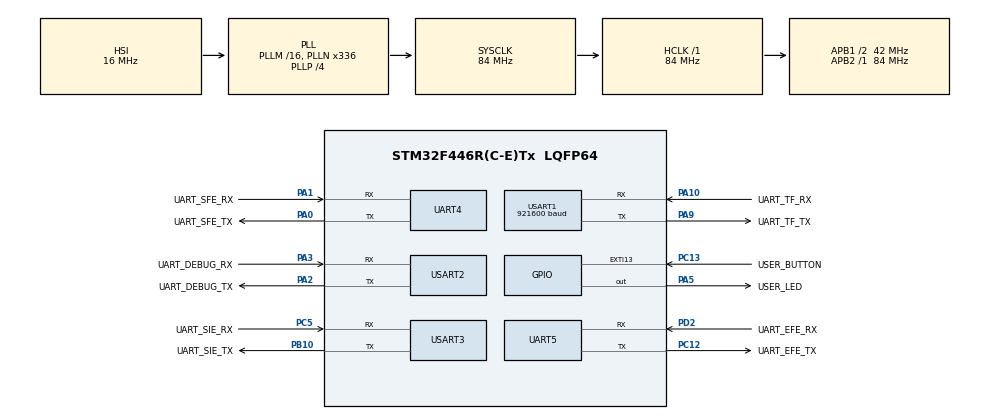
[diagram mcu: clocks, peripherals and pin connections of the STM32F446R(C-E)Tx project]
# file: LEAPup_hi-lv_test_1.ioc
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Mcu.Family=STM32F4
Mcu.Name=STM32F446R(C-E)Tx
Mcu.Package=LQFP64
NVIC.EXTI15_10_IRQn=true\:0\:3\:false\:false\:true\:true\:true\:true
NVIC.PriorityGroup=NVIC_PRIORITYGROUP_1
NVIC.TIM4_IRQn=true\:0\:4\:false\:false\:true\:true\:true\:true
NVIC.UART4_IRQn=true\:1\:3\:true\:false\:true\:true\:true\:true
NVIC.UART5_IRQn=true\:1\:4\:true\:false\:true\:true\:true\:true
NVIC.USART1_IRQn=true\:1\:1\:true\:false\:true\:true\:true\:true
NVIC.USART2_IRQn=true\:1\:0\:true\:false\:true\:true\:true\:true
NVIC.USART3_IRQn=true\:1\:2\:true\:false\:true\:true\:true\:true
PA0-WKUP.GPIO_Label=UART_SFE_TX
PA0-WKUP.Mode=Asynchronous
PA0-WKUP.Signal=UART4_TX
PA1.GPIO_Label=UART_SFE_RX
PA1.Mode=Asynchronous
PA1.Signal=UART4_RX
PA10.GPIO_Label=UART_TF_RX
PA10.Mode=Asynchronous
PA10.Signal=USART1_RX
PA13.GPIO_Label=TMS
PA13.Mode=Serial_Wire
PA13.Signal=SYS_JTMS-SWDIO
PA14.GPIO_Label=TCK
PA14.Mode=Serial_Wire
PA14.Signal=SYS_JTCK-SWCLK
PA2.GPIO_Label=UART_DEBUG_TX
PA2.Mode=Asynchronous
PA2.Signal=USART2_TX
PA3.GPIO_Label=UART_DEBUG_RX
PA3.Mode=Asynchronous
PA3.Signal=USART2_RX
PA5.GPIO_Label=USER_LED
PA5.Signal=GPIO_Output
PA9.GPIO_Label=UART_TF_TX
PA9.Mode=Asynchronous
PA9.Signal=USART1_TX
PB10.GPIO_Label=UART_SIE_TX
PB10.Mode=Asynchronous
PB10.Signal=USART3_TX
PB3.GPIO_Label=SWO
PB3.Signal=SYS_JTDO-SWO
PC12.GPIO_Label=UART_EFE_TX
PC12.Mode=Asynchronous
PC12.Signal=UART5_TX
PC13.GPIO_Label=USER_BUTTON
PC13.GPIO_ModeDefaultEXTI=GPIO_MODE_IT_FALLING
PC13.Signal=GPXTI13
PC14-OSC32_IN.Mode=LSE-External-Oscillator
PC14-OSC32_IN.Signal=RCC_OSC32_IN
PC15-OSC32_OUT.Mode=LSE-External-Oscillator
PC15-OSC32_OUT.Signal=RCC_OSC32_OUT
PC5.GPIO_Label=UART_SIE_RX
PC5.Mode=Asynchronous
PC5.Signal=USART3_RX
PD2.GPIO_Label=UART_EFE_RX
PD2.Mode=Asynchronous
PD2.Signal=UART5_RX
PH0-OSC_IN.Mode=HSE-External-Oscillator
PH0-OSC_IN.Signal=RCC_OSC_IN
PH1-OSC_OUT.Mode=HSE-External-Oscillator
PH1-OSC_OUT.Signal=RCC_OSC_OUT
ProjectManager.HeapSize=0x200
ProjectManager.StackSize=0x400
ProjectManager.TargetToolchain=STM32CubeIDE
RCC.48MHZClocksFreq_Value=84000000
RCC.AHBFreq_Value=84000000
RCC.APB1CLKDivider=RCC_HCLK_DIV2
RCC.APB1Freq_Value=42000000
RCC.APB1TimFreq_Value=84000000
RCC.APB2Freq_Value=84000000
RCC.APB2TimFreq_Value=84000000
RCC.CortexFreq_Value=84000000
RCC.FLatency-AdvancedSettings=FLASH_LATENCY_2
RCC.HCLKFreq_Value=84000000
RCC.HSE_VALUE=8000000
RCC.HSI_VALUE=16000000
RCC.PLLN=336
RCC.PLLP=RCC_PLLP_DIV4
RCC.SYSCLKFreq_VALUE=84000000
RCC.SYSCLKSource=RCC_SYSCLKSOURCE_PLLCLK
RCC.USBFreq_Value=168000000
RCC.VCOOutputFreq_Value=336000000
UART4.VirtualMode=Asynchronous
UART5.VirtualMode=Asynchronous
USART1.BaudRate=921600
USART1.VirtualMode=VM_ASYNC
USART2.VirtualMode=VM_ASYNC
USART3.VirtualMode=VM_ASYNC
VP_TIM4_VS_ClockSourceINT.Mode=Internal
board=NUCLEO-F446RE

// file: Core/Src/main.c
/* USER CODE BEGIN Header */
/**
 ******************************************************************************
 * @file           : main.c
 * @brief          : Main program body of LEAP-Up.
 *                   Use STM32CubeIDE.
 ******************************************************************************
 * @attention
 *
 * Copyright (c) 2023 STMicroelectronics.
 * All rights reserved.
 *
 * This software is licensed under terms that can be found in the LICENSE file
 * in the root directory of this software component.
 * If no LICENSE file comes with this software, it is provided AS-IS.
 *
 ******************************************************************************
 */
/* USER CODE END Header */
#include "main.h"

/* USER CODE BEGIN Includes */
#include <stdio.h> /* printf(). */
#include <math.h>
#include "kinematics.h"
/* USER CODE END Includes */

/* USER CODE BEGIN PD */
#define L1 (258)
#define L2 (325)

#define FTS_ZERO_POINT_OUTPUT (8192) /* 8192+-655. Refer to WEF-6A200 F/T sensor datasheet*/
#define FTS_RX_BUFFER_LEN (27)       /* 27 bytes. */
#define EFE_RX_BUFFER_LEN (2)
#define SFE_RX_BUFFER_LEN (10)
#define SIE_RX_BUFFER_LEN (10)

/* Reverse joints CW/CCW.  */
// #define INVERT_SIE_DIRECTION
#define INVERT_SFE_DIRECTION
// #define INVERT_EFE_DIRECTION

/* Reverse F/T sensor axis. */
#define INVERT_FTS_FX
// #define INVERT_FTS_FY
// #define INVERT_FTS_FZ
// #define INVERT_FTS_MX
// #define INVERT_FTS_MY
// #define INVERT_FTS_MZ

// #define EXCHANGE_FTS_FX_FY

/* USER CODE END PD */

TIM_HandleTypeDef htim4;

UART_HandleTypeDef huart4;
UART_HandleTypeDef huart5;
UART_HandleTypeDef huart1;
UART_HandleTypeDef huart2;
UART_HandleTypeDef huart3;

/* USER CODE BEGIN PV */
uint8_t UART_FTS_RxBuffer[FTS_RX_BUFFER_LEN] = {0};
volatile uint8_t UART_FTS_RxDone = 0;
uint8_t UART_EFE_RxBuffer[EFE_RX_BUFFER_LEN] = {0};
volatile uint8_t UART_EFE_RxDone = 0;
uint8_t UART_SFE_RxBuffer[SFE_RX_BUFFER_LEN] = {0};
volatile uint8_t UART_SFE_RxDone = 0;
uint8_t UART_SIE_RxBuffer[SIE_RX_BUFFER_LEN] = {0};
volatile uint8_t UART_SIE_RxDone = 0;

typedef struct
{
  int16_t Fx;
  int16_t Fy;
  int16_t Fz;
  int16_t Mx;
  int16_t My;
  int16_t Mz;
  uint8_t N;
} FTS_Data_t;

FTS_Data_t FTS_Data;
FTS_Data_t FTS_Data_offset;

/* USER CODE END PV */

void SystemClock_Config(void);
static void MX_GPIO_Init(void);
static void MX_TIM4_Init(void);
static void MX_UART4_Init(void);
static void MX_UART5_Init(void);
static void MX_USART1_UART_Init(void);
static void MX_USART2_UART_Init(void);
static void MX_USART3_UART_Init(void);
/* USER CODE BEGIN PFP */
uint8_t ASCII_to_int(uint8_t ascii);
uint16_t ASCII_to_int_4(uint8_t a1, uint8_t a2, uint8_t a3, uint8_t a4);
int FTS_parse_sensor_data(uint8_t *raw_data,
                          int16_t zero_point,
                          int16_t *Fx,
                          int16_t *Fy,
                          int16_t *Fz,
                          int16_t *Mx,
                          int16_t *My,
                          int16_t *Mz,
                          uint8_t *N);
void FTS_Corrdinate_Convert2(float theta, float x, float y, float *out_x, float *out_y);

void SIE_Set_Angle(float rad);
void SFE_Set_Angle(float rad);
void EFE_Set_Angle(float rad);

void SIE_Get_Angle(float *rad);
void SFE_Get_Angle(float *rad);
void EFE_Get_Angle(float *rad);

void SIE_Enable(uint8_t enable);
void SFE_Enable(uint8_t enable);
void EFE_Enable(uint8_t enable);

int __io_putchar(int ch)
{
  //  while (HAL_UART_GetState(&huart2) != HAL_UART_STATE_READY)
  //  {
  //  }

  HAL_UART_Transmit(&huart2, (uint8_t *)&ch, 1, HAL_MAX_DELAY);

  //  while (HAL_UART_GetState(&huart2) != HAL_UART_STATE_READY)
  //  {
  //  }

  return ch;
}

/* USER CODE END PFP */

int main(void)
{

  /* MCU Configuration--------------------------------------------------------*/

  /* Reset of all peripherals, Initializes the Flash interface and the Systick. */
  HAL_Init();

  /* Configure the system clock */
  SystemClock_Config();

  /* Initialize all configured peripherals */
  MX_GPIO_Init();
  MX_TIM4_Init();
  MX_UART4_Init();
  MX_UART5_Init();
  MX_USART1_UART_Init();
  MX_USART2_UART_Init();
  MX_USART3_UART_Init();
  /* USER CODE BEGIN 2 */
  // uint8_t enable = 0xFE;
  // HAL_UART_Transmit(&huart5, (uint8_t *)&enable, 1, HAL_MAX_DELAY);
  /* USER CODE END 2 */

  /* Infinite loop */
  /* USER CODE BEGIN WHILE */
  HAL_UART_Transmit(&huart2, "Init\r\n", 6, HAL_MAX_DELAY); /* Requires FTS output detected value once. */
  HAL_Delay(500);

  SIE_Enable(1);
  SFE_Enable(1);
  EFE_Enable(1);
  HAL_Delay(200);

  HAL_UARTEx_ReceiveToIdle_IT(&huart1, (uint8_t *)UART_FTS_RxBuffer, FTS_RX_BUFFER_LEN);
  HAL_UART_Transmit(&huart1, "R", 1, HAL_MAX_DELAY); /* Requires FTS output detected value once. */
  HAL_Delay(200);

  // SIE_Set_Angle(0);
  //  SFE_Set_Angle(0);
  //  EFE_Set_Angle(0.35);
  // float tSFE, tEFE = 0;
  //  IK2(L1 / 2.0, 0, L1, L2, &tSFE, &tEFE);
  //  SFE_Set_Angle(tSFE);
  //  EFE_Set_Angle(tEFE);
  // HAL_Delay(5000);

  FTS_Data_offset = FTS_Data;

//    HAL_UART_Receive_IT(&huart1, (uint8_t *)UART_FTS_RxBuffer, FTS_RX_BUFFER_LEN);
//    HAL_UART_Transmit(&huart1, "R", 1, HAL_MAX_DELAY); /* Requires FTS output detected value once. */

  HAL_UART_Transmit(&huart2, "Ready\r\n", 7, HAL_MAX_DELAY); /* Requires FTS output detected value once. */

  // while(1)
  // {
  // 	  SFE_Enable(1);
  // 	  EFE_Enable(1);

  //     float targetSFE, targetEFE = 0;

  //     IK2((L1+L2)/2, 0, L1, L2, &targetSFE, &targetEFE);

  //     SFE_Set_Angle(targetSFE);
  //     EFE_Set_Angle(targetEFE);
  // }

  while (1)
  {
    float oriX, oriY, oriZ = 0;      /* Origin Cartesian coordinate system */
    float targetX, targetY, targetZ = 0; /* Target Cartesian coordinate system*/
    float oriSIE, oriSFE, oriEFE = 0;            /*Origin joint angle*/
    float targetSFE, targetEFE, targetSIE = 0; /* Target joint angle */
    float extFX, extFY, extFZ = 0; /* Force */
    /* Read F/T sensor data */
    HAL_UARTEx_ReceiveToIdle_IT(&huart1, (uint8_t *)UART_FTS_RxBuffer, FTS_RX_BUFFER_LEN);
    HAL_UART_Transmit(&huart1, "R", 1, HAL_MAX_DELAY); /* Requires FTS output detected value once. */
    while (!UART_FTS_RxDone)
    {
    }
    UART_FTS_RxDone = 0;

    //    SIE_Get_Angle(&oriSIE);
    SFE_Get_Angle(&oriSFE);
    //    SFE_Set_Angle(oriSFE);

    EFE_Get_Angle(&oriEFE);
    //    EFE_Set_Angle(oriEFE);

//    FTS_Corrdinate_Convert2((oriSFE + oriEFE),
//                            (FTS_Data.My - FTS_Data_offset.My),
//                            (FTS_Data.Mx - FTS_Data_offset.Mx),
//                            &extFX,
//                            &extFY);

    /* Offset */
    extFX = (FTS_Data.Fx - FTS_Data_offset.Fx);
    extFY = (FTS_Data.Fy - FTS_Data_offset.Fy);
    extFZ = (FTS_Data.Fz - FTS_Data_offset.Fz);

    /* Admittance Control */
    float offsetX = (0.07 * extFX);
    float offsetY = (0.07 * extFY);
    float offsetZ = (0.001 * extFZ);

    //    if (offsetX > 5)
    //      offsetX = 5;
    //    else if (offsetX < -5)
    //      offsetX = -5;
    //
    //    if (offsetY > 5)
    //      offsetY = 5;
    //    else if (offsetY < -5)
    //      offsetY = -5;
    //
    //    if (offsetZ > 5)
    //      offsetZ = 5;
    //    else if (offsetZ < -5)
    //      offsetZ = -5;

//    FK2(oriSFE, oriEFE, L1, L2, &oriX, &oriY);
//    float r = sqrt(pow(oriX, 2) + pow(oriY, 2));
//    targetX = r + offsetX;
//    IK2(targetX, 0, L1, L2, &targetSFE, &targetEFE);

    /* Limit */
//    if(extFY > extFX)
    {
    	if(offsetY >0.18)
    	{
    		offsetY = 0.18;
    	}
    	else if(offsetY < -0.18)
    	{
    		offsetY = -0.18;
    	}
        targetSFE = oriSFE + offsetY;
//    	targetEFE=oriEFE;
        targetEFE = oriEFE - offsetX;
    }

    targetSIE = oriSIE + offsetZ;

    /* Threshold */
    if (fabs(oriEFE - targetEFE) > 0.15)
    {
      EFE_Set_Angle(targetEFE);
    }

    if (fabs(oriSFE - targetSFE) > 0.16)
    {
      SFE_Set_Angle(targetSFE);
    }

    if (fabs(oriSIE - targetSIE) > 0.18)
    {
      SIE_Set_Angle(targetSIE);
    }

    /* LED blinking */
    HAL_GPIO_TogglePin(USER_LED_GPIO_Port, USER_LED_Pin);
    HAL_Delay(100);
    /* USER CODE END WHILE */
  }
}

void SystemClock_Config(void)
{
  RCC_OscInitTypeDef RCC_OscInitStruct = {0};
  RCC_ClkInitTypeDef RCC_ClkInitStruct = {0};

  /** Configure the main internal regulator output voltage
   */
  __HAL_RCC_PWR_CLK_ENABLE();
  __HAL_PWR_VOLTAGESCALING_CONFIG(PWR_REGULATOR_VOLTAGE_SCALE3);

  /** Initializes the RCC Oscillators according to the specified parameters
   * in the RCC_OscInitTypeDef structure.
   */
  RCC_OscInitStruct.OscillatorType = RCC_OSCILLATORTYPE_HSI;
  RCC_OscInitStruct.HSIState = RCC_HSI_ON;
  RCC_OscInitStruct.HSICalibrationValue = RCC_HSICALIBRATION_DEFAULT;
  RCC_OscInitStruct.PLL.PLLState = RCC_PLL_ON;
  RCC_OscInitStruct.PLL.PLLSource = RCC_PLLSOURCE_HSI;
  RCC_OscInitStruct.PLL.PLLM = 16;
  RCC_OscInitStruct.PLL.PLLN = 336;
  RCC_OscInitStruct.PLL.PLLP = RCC_PLLP_DIV4;
  RCC_OscInitStruct.PLL.PLLQ = 2;
  RCC_OscInitStruct.PLL.PLLR = 2;
  if (HAL_RCC_OscConfig(&RCC_OscInitStruct) != HAL_OK)
  {
    Error_Handler();
  }

  /** Initializes the CPU, AHB and APB buses clocks
   */
  RCC_ClkInitStruct.ClockType = RCC_CLOCKTYPE_HCLK | RCC_CLOCKTYPE_SYSCLK | RCC_CLOCKTYPE_PCLK1 | RCC_CLOCKTYPE_PCLK2;
  RCC_ClkInitStruct.SYSCLKSource = RCC_SYSCLKSOURCE_PLLCLK;
  RCC_ClkInitStruct.AHBCLKDivider = RCC_SYSCLK_DIV1;
  RCC_ClkInitStruct.APB1CLKDivider = RCC_HCLK_DIV2;
  RCC_ClkInitStruct.APB2CLKDivider = RCC_HCLK_DIV1;

  if (HAL_RCC_ClockConfig(&RCC_ClkInitStruct, FLASH_LATENCY_2) != HAL_OK)
  {
    Error_Handler();
  }
}

static void MX_TIM4_Init(void)
{

  TIM_ClockConfigTypeDef sClockSourceConfig = {0};
  TIM_MasterConfigTypeDef sMasterConfig = {0};

  htim4.Instance = TIM4;
  htim4.Init.Prescaler = 0;
  htim4.Init.CounterMode = TIM_COUNTERMODE_UP;
  htim4.Init.Period = 65535;
  htim4.Init.ClockDivision = TIM_CLOCKDIVISION_DIV1;
  htim4.Init.AutoReloadPreload = TIM_AUTORELOAD_PRELOAD_DISABLE;
  if (HAL_TIM_Base_Init(&htim4) != HAL_OK)
  {
    Error_Handler();
  }
  sClockSourceConfig.ClockSource = TIM_CLOCKSOURCE_INTERNAL;
  if (HAL_TIM_ConfigClockSource(&htim4, &sClockSourceConfig) != HAL_OK)
  {
    Error_Handler();
  }
  sMasterConfig.MasterOutputTrigger = TIM_TRGO_RESET;
  sMasterConfig.MasterSlaveMode = TIM_MASTERSLAVEMODE_DISABLE;
  if (HAL_TIMEx_MasterConfigSynchronization(&htim4, &sMasterConfig) != HAL_OK)
  {
    Error_Handler();
  }
}

static void MX_UART4_Init(void)
{

  huart4.Instance = UART4;
  huart4.Init.BaudRate = 115200;
  huart4.Init.WordLength = UART_WORDLENGTH_8B;
  huart4.Init.StopBits = UART_STOPBITS_1;
  huart4.Init.Parity = UART_PARITY_NONE;
  huart4.Init.Mode = UART_MODE_TX_RX;
  huart4.Init.HwFlowCtl = UART_HWCONTROL_NONE;
  huart4.Init.OverSampling = UART_OVERSAMPLING_16;
  if (HAL_UART_Init(&huart4) != HAL_OK)
  {
    Error_Handler();
  }
}

static void MX_UART5_Init(void)
{

  huart5.Instance = UART5;
  huart5.Init.BaudRate = 115200;
  huart5.Init.WordLength = UART_WORDLENGTH_8B;
  huart5.Init.StopBits = UART_STOPBITS_1;
  huart5.Init.Parity = UART_PARITY_NONE;
  huart5.Init.Mode = UART_MODE_TX_RX;
  huart5.Init.HwFlowCtl = UART_HWCONTROL_NONE;
  huart5.Init.OverSampling = UART_OVERSAMPLING_16;
  if (HAL_UART_Init(&huart5) != HAL_OK)
  {
    Error_Handler();
  }
}

static void MX_USART1_UART_Init(void)
{

  huart1.Instance = USART1;
  huart1.Init.BaudRate = 921600;
  huart1.Init.WordLength = UART_WORDLENGTH_8B;
  huart1.Init.StopBits = UART_STOPBITS_1;
  huart1.Init.Parity = UART_PARITY_NONE;
  huart1.Init.Mode = UART_MODE_TX_RX;
  huart1.Init.HwFlowCtl = UART_HWCONTROL_NONE;
  huart1.Init.OverSampling = UART_OVERSAMPLING_16;
  if (HAL_UART_Init(&huart1) != HAL_OK)
  {
    Error_Handler();
  }
}

static void MX_USART2_UART_Init(void)
{

  huart2.Instance = USART2;
  huart2.Init.BaudRate = 115200;
  huart2.Init.WordLength = UART_WORDLENGTH_8B;
  huart2.Init.StopBits = UART_STOPBITS_1;
  huart2.Init.Parity = UART_PARITY_NONE;
  huart2.Init.Mode = UART_MODE_TX_RX;
  huart2.Init.HwFlowCtl = UART_HWCONTROL_NONE;
  huart2.Init.OverSampling = UART_OVERSAMPLING_16;
  if (HAL_UART_Init(&huart2) != HAL_OK)
  {
    Error_Handler();
  }
}

static void MX_USART3_UART_Init(void)
{

  huart3.Instance = USART3;
  huart3.Init.BaudRate = 115200;
  huart3.Init.WordLength = UART_WORDLENGTH_8B;
  huart3.Init.StopBits = UART_STOPBITS_1;
  huart3.Init.Parity = UART_PARITY_NONE;
  huart3.Init.Mode = UART_MODE_TX_RX;
  huart3.Init.HwFlowCtl = UART_HWCONTROL_NONE;
  huart3.Init.OverSampling = UART_OVERSAMPLING_16;
  if (HAL_UART_Init(&huart3) != HAL_OK)
  {
    Error_Handler();
  }
}

static void MX_GPIO_Init(void)
{
  GPIO_InitTypeDef GPIO_InitStruct = {0};

  /* GPIO Ports Clock Enable */
  __HAL_RCC_GPIOC_CLK_ENABLE();
  __HAL_RCC_GPIOH_CLK_ENABLE();
  __HAL_RCC_GPIOA_CLK_ENABLE();
  __HAL_RCC_GPIOB_CLK_ENABLE();
  __HAL_RCC_GPIOD_CLK_ENABLE();

  /*Configure GPIO pin Output Level */
  HAL_GPIO_WritePin(USER_LED_GPIO_Port, USER_LED_Pin, GPIO_PIN_RESET);

  /*Configure GPIO pin : USER_BUTTON_Pin */
  GPIO_InitStruct.Pin = USER_BUTTON_Pin;
  GPIO_InitStruct.Mode = GPIO_MODE_IT_FALLING;
  GPIO_InitStruct.Pull = GPIO_NOPULL;
  HAL_GPIO_Init(USER_BUTTON_GPIO_Port, &GPIO_InitStruct);

  /*Configure GPIO pin : USER_LED_Pin */
  GPIO_InitStruct.Pin = USER_LED_Pin;
  GPIO_InitStruct.Mode = GPIO_MODE_OUTPUT_PP;
  GPIO_InitStruct.Pull = GPIO_NOPULL;
  GPIO_InitStruct.Speed = GPIO_SPEED_FREQ_LOW;
  HAL_GPIO_Init(USER_LED_GPIO_Port, &GPIO_InitStruct);

  /* EXTI interrupt init*/
  HAL_NVIC_SetPriority(EXTI15_10_IRQn, 0, 3);
  HAL_NVIC_EnableIRQ(EXTI15_10_IRQn);
}

/* USER CODE BEGIN 4 */

void SIE_Set_Angle(float rad)
{
  if (rad < -0.45)
  {
    rad = -0.45;
  }
  else if (rad > 0.7)
  {
    rad = 0.7;
  }

  // rad += M_PI;
  rad *= 100.0f; /* Gear reduction ratio. */

#ifdef INVERT_SIE_DIRECTION
  rad *= -1;
#endif

  char sign = (rad >= 0) ? '+' : '-';
  rad = fabs(rad);
  /* '0x30' = '0' of ASCII. */
  uint8_t data[10];
  data[0] = 'M';
  data[1] = (uint8_t)sign;
  data[2] = ((int)rad / 100 % 10) + 0x30; /* Handred place. */
  data[3] = ((int)rad / 10 % 10) + 0x30;  /* Ten place. */
  data[4] = ((int)rad / 1 % 10) + 0x30;   /* Unit place. */
  data[5] = '.';
  data[6] = ((int)(rad * 10) / 1 % 10) + 0x30;
  data[7] = ((int)(rad * 100) / 1 % 10) + 0x30;
  data[8] = ((int)(rad * 1000) / 1 % 10) + 0x30;
  data[9] = '\n';

  HAL_UART_Transmit(&huart3, data, 10, HAL_MAX_DELAY);
}

void SFE_Set_Angle(float rad)
{
  rad += M_PI_2; /* Offset. */

//  if (rad < 0)
//  {
//    rad = 0;
//  }
//  else if (rad > M_PI_2)
//  {
//    rad = M_PI_2;
//  }

  rad *= 100; /* Gear reduction ratio. */

#ifdef INVERT_SFE_DIRECTION
  rad *= -1;
#endif

  char sign = (rad >= 0) ? '+' : '-';
  rad = fabs(rad);
  /* '0x30' = '0' of ASCII. */
  uint8_t data[10];
  data[0] = 'M';
  data[1] = (uint8_t)sign;
  data[2] = ((int)rad / 100 % 10) + 0x30; /* Handred place. */
  data[3] = ((int)rad / 10 % 10) + 0x30;  /* Ten place. */
  data[4] = ((int)rad / 1 % 10) + 0x30;   /* Unit place. */
  data[5] = '.';
  data[6] = ((int)(rad * 10) / 1 % 10) + 0x30;
  data[7] = ((int)(rad * 100) / 1 % 10) + 0x30;
  data[8] = ((int)(rad * 1000) / 1 % 10) + 0x30;
  data[9] = '\n';

  HAL_UART_Transmit(&huart4, data, 10, HAL_MAX_DELAY);
}

void EFE_Set_Angle(float rad)
{
  // #ifdef INVERT_EFE_DIRECTION
  //   rad *= -1;
  // #endif

  rad -= 0.349;                    /* Zero offset.  */
  float deg = rad * 180.0f / M_PI; /* To degree. */

  if (deg < 0)
  {
    deg = 0;
  }
  else if (deg > 65)
  {
    deg = 65;
  }

  uint8_t data[] = {((int)deg & 0x7F)};
  EFE_Enable(1);
  HAL_UART_Transmit(&huart5, data, 1, HAL_MAX_DELAY);
}

void SIE_Get_Angle(float *rad)
{
  while (HAL_UARTEx_ReceiveToIdle_IT(&huart3, (uint8_t *)UART_SIE_RxBuffer, SIE_RX_BUFFER_LEN) != HAL_OK)
  {
  }
  HAL_UART_Transmit(&huart3, "A\n", 2, HAL_MAX_DELAY);

  while (!UART_SIE_RxDone)
  {
  }

  /* '\r' = CR, '\n' = LF. */
  if (UART_SIE_RxBuffer[SIE_RX_BUFFER_LEN - 2] != '\r' && UART_SIE_RxBuffer[SIE_RX_BUFFER_LEN - 1] != '\n')
  {
    /* Error occurred. */
    //    Error_Handler();
  }

  float rawRad = (ASCII_to_int(UART_SIE_RxBuffer[1]) * 100 +
                  ASCII_to_int(UART_SIE_RxBuffer[2]) * 10 +
                  ASCII_to_int(UART_SIE_RxBuffer[3]) +
                  ASCII_to_int(UART_SIE_RxBuffer[5]) / 10.0 +
                  ASCII_to_int(UART_SIE_RxBuffer[6]) / 100.0 +
                  ASCII_to_int(UART_SIE_RxBuffer[7]) / 1000.0);

  if (UART_SIE_RxBuffer[0] == '-')
  {
    rawRad *= -1;
  }

#ifdef INVERT_SIE_DIRECTION
  rawRad *= -1;
#endif

  *rad = (rawRad / 9.0f);

  UART_SIE_RxDone = 0; /* Reset flag. */
}

void SFE_Get_Angle(float *rad)
{
  while (HAL_UARTEx_ReceiveToIdle_IT(&huart4, (uint8_t *)UART_SFE_RxBuffer, SFE_RX_BUFFER_LEN) != HAL_OK)
  {
  }
  HAL_UART_Transmit(&huart4, "A\n", 2, HAL_MAX_DELAY);

  while (!UART_SFE_RxDone)
  {
  }

  /* '\r' = CR, '\n' = LF. */
  if (UART_SFE_RxBuffer[SFE_RX_BUFFER_LEN - 2] != '\r' && UART_SFE_RxBuffer[SFE_RX_BUFFER_LEN - 1] != '\n')
  {
    /* Error occurred. */
    //    Error_Handler();
  }

  float rawRad = (ASCII_to_int(UART_SFE_RxBuffer[1]) * 100 +
                  ASCII_to_int(UART_SFE_RxBuffer[2]) * 10 +
                  ASCII_to_int(UART_SFE_RxBuffer[3]) +
                  ASCII_to_int(UART_SFE_RxBuffer[5]) / 10.0 +
                  ASCII_to_int(UART_SFE_RxBuffer[6]) / 100.0 +
                  ASCII_to_int(UART_SFE_RxBuffer[7]) / 1000.0);

  if (UART_SFE_RxBuffer[0] == '-')
  {
    rawRad *= -1;
  }

#ifdef INVERT_SFE_DIRECTION
  rawRad *= -1;
#endif

  *rad = (rawRad / 100.0f) - M_PI_2;

  UART_SFE_RxDone = 0; /* Reset flag. */
}

void EFE_Get_Angle(float *rad)
{
  //  while (HAL_UART_Receive_IT(&huart5, (uint8_t *)UART_EFE_RxBuffer, EFE_RX_BUFFER_LEN) != HAL_OK)
  while (HAL_UARTEx_ReceiveToIdle_IT(&huart5, (uint8_t *)UART_EFE_RxBuffer, EFE_RX_BUFFER_LEN) != HAL_OK)
  {
  }

  uint8_t data[] = {0xFA};
  HAL_UART_Transmit(&huart5, data, 1, HAL_MAX_DELAY); /* Request return angle. */

  while (!UART_EFE_RxDone)
  {
  }

  if (UART_EFE_RxBuffer[0] == 0xFE && UART_EFE_RxBuffer[1] == 0xFE)
  {
    /* Error occurred. */
    Error_Handler();
  }

  uint16_t rawPosition = (UART_EFE_RxBuffer[0] << 8) + UART_EFE_RxBuffer[1];

#ifdef INVERT_EFE_DIRECTION
  rawPosition *= -1;
#endif

  *rad = rawPosition / 16384.0 * 2.0 * M_PI; /* (raw / (2^14) * 360) * Pi / 180. */
  *rad += 0.349;                             /* Zero offset. */

  UART_EFE_RxDone = 0; /* Reset flag. */
}

void SIE_Enable(uint8_t enable)
{
  /* 'ME1' for enable, 'ME0' for disable. */
  uint8_t data[] = "ME0\n";
  if (enable)
  {
    data[2] = '1';
  }

  HAL_UART_Transmit(&huart3, data, 4, HAL_MAX_DELAY);
}

void SFE_Enable(uint8_t enable)
{
  /* 'ME1' for enable, 'ME0' for disable. */
  uint8_t data[] = "ME0\n";
  if (enable)
  {
    data[2] = '1';
  }

  HAL_UART_Transmit(&huart4, data, 4, HAL_MAX_DELAY);
}

void EFE_Enable(uint8_t enable)
{
  /* '0xFE' for enable, '0xFF' for disable. */
  uint8_t data[1];
  if (enable)
  {
    data[0] = 0xFE;
  }
  else
  {
    data[0] = 0xFF;
  }

  HAL_UART_Transmit(&huart5, data, 1, HAL_MAX_DELAY);
}

uint8_t ASCII_to_int(uint8_t ascii)
{
  /*
   * ASCII=HEX:
   * 0=0x30, 1=0x31 ... 9=0x39
   * A=0x41, B=0x42 ... F=0x46
   */

  if (ascii <= 0x39 && ascii >= 0x30)
  {
    return ascii - 0x30;
  }
  else if (ascii <= 0x46 && ascii >= 0x41)
  {
    return (ascii - 0x41) + 10; /* A(hex) = 10. */
  }
  else
  {
    return 0xFF; /* Error. */
  }
}

uint16_t ASCII_to_int_4(uint8_t a1, uint8_t a2, uint8_t a3, uint8_t a4)
{
  uint8_t n1 = ASCII_to_int(a1); /* LSB. */
  uint8_t n2 = ASCII_to_int(a2);
  uint8_t n3 = ASCII_to_int(a3);
  uint8_t n4 = ASCII_to_int(a4);

  return ((n1 << 12) + (n2 << 8) + (n3 << 4) + n4) & 0x3FFF;
}

int FTS_parse_sensor_data(uint8_t *raw_data,
                          int16_t zero_point,
                          int16_t *Fx,
                          int16_t *Fy,
                          int16_t *Fz,
                          int16_t *Mx,
                          int16_t *My,
                          int16_t *Mz,
                          uint8_t *N)
{
  *N = ASCII_to_int(raw_data[0]);

  int16_t rawFx = ASCII_to_int_4(raw_data[1], raw_data[2], raw_data[3], raw_data[4]) - zero_point;
  int16_t rawFy = ASCII_to_int_4(raw_data[5], raw_data[6], raw_data[7], raw_data[8]) - zero_point;
  int16_t rawFz = ASCII_to_int_4(raw_data[9], raw_data[10], raw_data[11], raw_data[12]) - zero_point;
  int16_t rawMx = ASCII_to_int_4(raw_data[13], raw_data[14], raw_data[15], raw_data[16]) - zero_point;
  int16_t rawMy = ASCII_to_int_4(raw_data[17], raw_data[18], raw_data[19], raw_data[20]) - zero_point;
  int16_t rawMz = ASCII_to_int_4(raw_data[21], raw_data[22], raw_data[23], raw_data[24]) - zero_point;

#ifdef INVERT_FTS_FX
  rawFx *= -1;
#endif
#ifdef INVERT_FTS_FY
  rawFy *= -1;
#endif
#ifdef INVERT_FTS_FZ
  rawFz *= -1;
#endif

#ifdef INVERT_FTS_MX
  rawMx *= -1;
#endif
#ifdef INVERT_FTS_MY
  rawMy *= -1;
#endif
#ifdef INVERT_FTS_MZ
  rawMz *= -1;
#endif

#ifdef EXCHANGE_FTS_FX_FY
  uint16_t temp = rawFy;
  rawFy = rawFx;
  rawFx = temp;
#endif

  *Fx = rawFx;
  *Fy = rawFy;
  *Fz = rawFz;
  *Mx = rawMx;
  *My = rawMy;
  *Mz = rawMz;

  return 0;
}

void HAL_UART_RxCpltCallback(UART_HandleTypeDef *huart)
{
  if (huart->Instance == USART1) /* FT sensor. */
  {
  }
  else if (huart->Instance == UART5) /* EFE. */
  {
    UART_EFE_RxDone = 1;
  }
  else if (huart->Instance == UART4) /* SFE. */
  {
    UART_SFE_RxDone = 1;
  }
  else if (huart->Instance == USART3) /* SIE. */
  {
    UART_SIE_RxDone = 1;
  }
}

void HAL_UARTEx_RxEventCallback(UART_HandleTypeDef *huart, uint16_t size)
{
  if (huart->Instance == USART1) /* FT sensor. */
  {
    if (UART_FTS_RxBuffer[FTS_RX_BUFFER_LEN - 2] == 0x0D && UART_FTS_RxBuffer[FTS_RX_BUFFER_LEN - 1] == 0x0A)
    {
      uint8_t N;
      int16_t Fx, Fy, Fz, Mx, My, Mz;
      FTS_parse_sensor_data(UART_FTS_RxBuffer, FTS_ZERO_POINT_OUTPUT, &Fx, &Fy, &Fz, &Mx, &My, &Mz, &N);

      FTS_Data.Fx = Fx;
      FTS_Data.Fy = Fy;
      FTS_Data.Fz = Fz;
      FTS_Data.Mx = Mx;
      FTS_Data.My = My;
      FTS_Data.Mz = Mz;
      FTS_Data.N = N;

      UART_FTS_RxDone = 1;
      // UART_FTS_RxBuffer = {0}; /* Clear. */
    }
  }
  else if (huart->Instance == UART5) /* EFE. */
  {
    UART_EFE_RxDone = 1;
  }
  else if (huart->Instance == UART4) /* SFE. */
  {
    UART_SFE_RxDone = 1;
  }
  else if (huart->Instance == USART3) /* SIE. */
  {
    UART_SIE_RxDone = 1;
  }
}

void FTS_Corrdinate_Convert2(float theta, float x, float y, float *out_x, float *out_y)
{
  int threshold = 10;
  if ((x > 0 && x < threshold) || (x < 0 && x > -threshold))
  {
    x = 0;
  }
  if ((y > 0 && y < threshold) || (y < 0 && y > -threshold))
  {
    y = 0;
  }

  *out_x = x * cos(theta) - y * sin(theta);
  *out_y = x * sin(theta) + y * cos(theta);
}

/* USER CODE END 4 */

void Error_Handler(void)
{
  /* USER CODE BEGIN Error_Handler_Debug */
  SFE_Enable(0);
  EFE_Enable(0);

  /* User can add his own implementation to report the HAL error return state */
  __disable_irq();
  while (1)
  {
  }
  /* USER CODE END Error_Handler_Debug */
}
